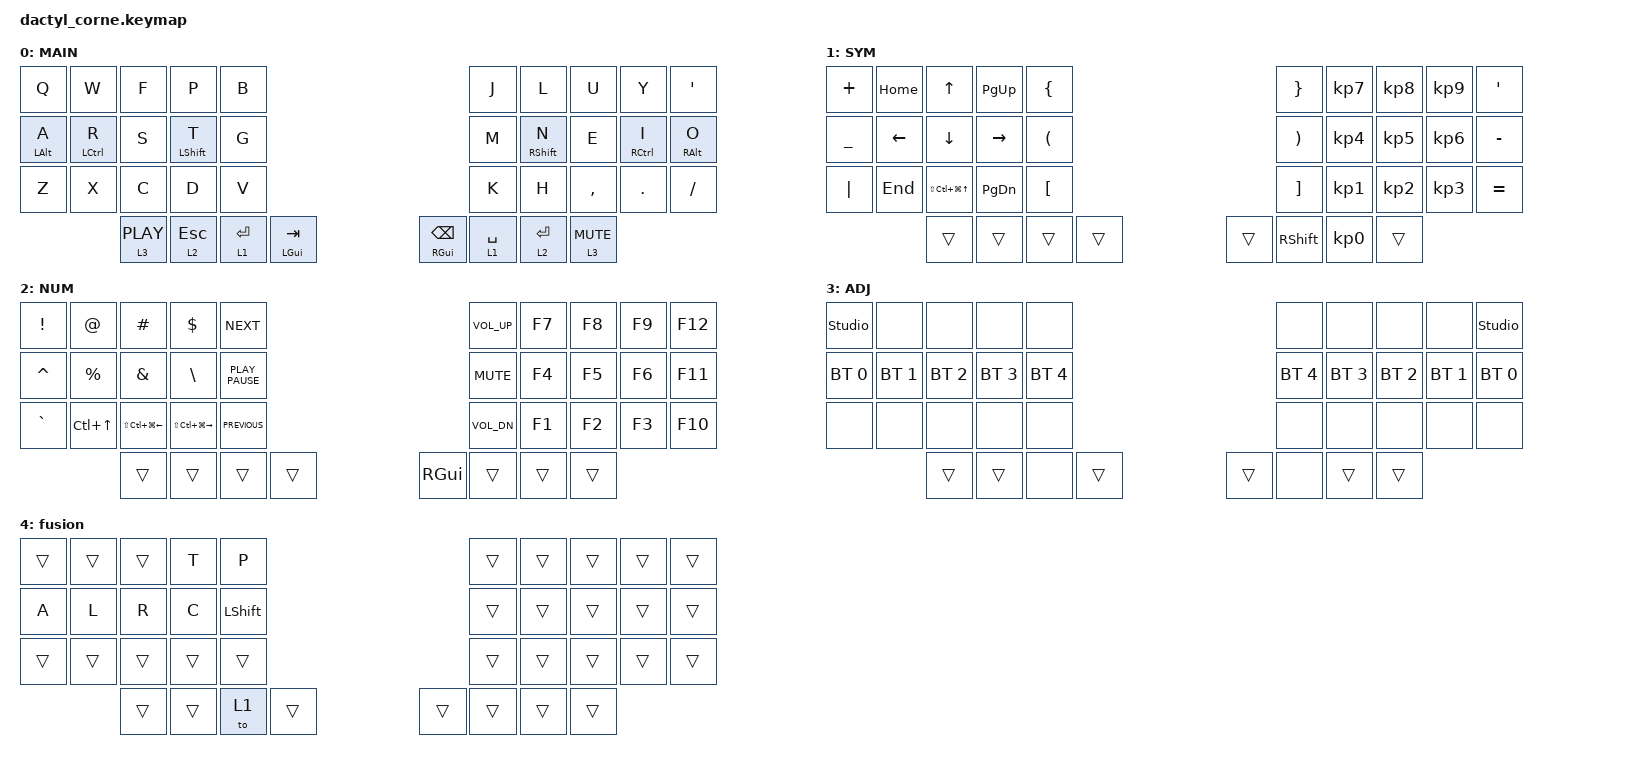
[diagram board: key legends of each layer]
/*
 * Copyright (c) 2020 The ZMK Contributors
 *
 * SPDX-License-Identifier: MIT
 */

#include <behaviors.dtsi>
#include <dt-bindings/zmk/bt.h>
#include <dt-bindings/zmk/keys.h>

#define DEF 0
#define LWR 1
#define RSE 2
#define ADJ 3

&lt { quick-tap-ms = <200>; };

&mt { quick-tap-ms = <200>; };

/ {
    conditional_layers {
        compatible = "zmk,conditional-layers";

        tri_layer {
            if-layers = <1 2>;
            then-layer = <3>;
        };
    };

    combos {
        compatible = "zmk,combos";

        fusion_layer {
            bindings = <&to 4>;
            key-positions = <0 1 2 3>;
        };
    };

    keymap {
        compatible = "zmk,keymap";

        default_layer {
            display-name = "MAIN";
            bindings = <
  &kp Q           &kp W         &kp F         &kp P             &kp B               &kp J                    &kp L              &kp U        &kp Y         &kp SQT
  &mt LEFT_ALT A  &mt LCTRL R   &kp S         &mt LEFT_SHIFT T  &kp G               &kp M                    &mt RIGHT_SHIFT N  &kp E        &mt RCTRL I   &mt RIGHT_ALT O
  &kp Z           &kp X         &kp C         &kp D             &kp V               &kp K                    &kp H              &kp COMMA    &kp DOT       &kp SLASH
                  &lt 3 C_PLAY  &lt 2 ESCAPE  &lt 1 ENTER       &mt LEFT_GUI TAB    &mt RIGHT_GUI BACKSPACE  &lt 1 SPACE        &lt 2 ENTER  &lt 3 C_MUTE
            >;
        };

        lower_layer {
            display-name = "SYM";
            bindings = <
  &kp PLUS        &kp HOME  &kp UP              &kp PAGE_UP    &kp LEFT_BRACE          &kp RIGHT_BRACE        &kp KP_N7        &kp KP_N8        &kp KP_NUMBER_9  &kp SQT
  &kp UNDERSCORE  &kp LEFT  &kp DOWN            &kp RIGHT      &kp LEFT_PARENTHESIS    &kp RIGHT_PARENTHESIS  &kp KP_NUMBER_4  &kp KP_NUMBER_5  &kp KP_NUMBER_6  &kp MINUS
  &kp PIPE        &kp END   &kp LS(LC(LG(UP)))  &kp PAGE_DOWN  &kp LEFT_BRACKET        &kp RIGHT_BRACKET      &kp KP_NUMBER_1  &kp KP_NUMBER_2  &kp KP_NUMBER_3  &kp EQUAL
                  &trans    &trans              &trans         &trans                  &trans                 &kp RIGHT_SHIFT  &kp KP_NUMBER_0  &trans
            >;
        };

        raise_layer {
            display-name = "NUM";
            bindings = <
  &kp EXCLAMATION  &kp AT_SIGN  &kp HASH              &kp DOLLAR             &kp C_NEXT          &kp C_VOL_UP   &kp F7  &kp F8  &kp F9  &kp F12
  &kp CARET        &kp PERCENT  &kp AMPERSAND         &kp BACKSLASH          &kp K_PLAY_PAUSE    &kp C_MUTE     &kp F4  &kp F5  &kp F6  &kp F11
  &kp GRAVE        &kp LC(UP)   &kp LS(LC(LG(LEFT)))  &kp LS(LC(LG(RIGHT)))  &kp K_PREVIOUS      &kp C_VOL_DN   &kp F1  &kp F2  &kp F3  &kp F10
                   &trans       &trans                &trans                 &trans              &kp RIGHT_GUI  &trans  &trans  &trans
            >;
        };

        adjust_layer {
            display-name = "ADJ";
            bindings = <
  &studio_unlock  &none         &none         &none         &none           &none         &none         &none         &none         &studio_unlock
  &bt BT_SEL 0    &bt BT_SEL 1  &bt BT_SEL 2  &bt BT_SEL 3  &bt BT_SEL 4    &bt BT_SEL 4  &bt BT_SEL 3  &bt BT_SEL 2  &bt BT_SEL 1  &bt BT_SEL 0
  &none           &none         &none         &none         &none           &none         &none         &none         &none         &none
                  &trans        &trans        &none         &trans          &trans        &none         &trans        &trans
            >;
        };

        fusion {
            bindings = <
  &trans  &trans  &trans  &kp T   &kp P        &trans  &trans  &trans  &trans  &trans
  &kp A   &kp L   &kp R   &kp C   &kp LSHFT    &trans  &trans  &trans  &trans  &trans
  &trans  &trans  &trans  &trans  &trans       &trans  &trans  &trans  &trans  &trans
          &trans  &trans  &to 1   &trans       &trans  &trans  &trans  &trans
            >;
        };
    };
};
